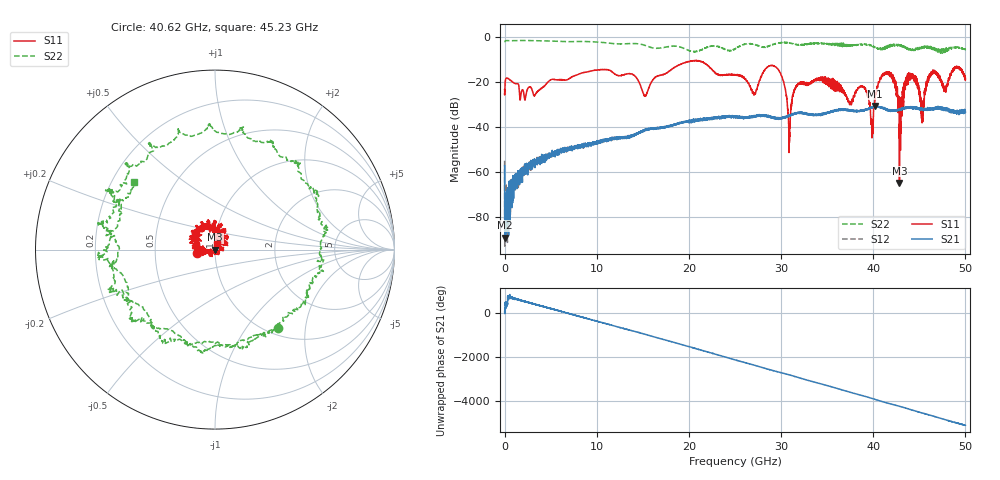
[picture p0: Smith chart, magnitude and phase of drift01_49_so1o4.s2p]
!Created with skrf (http://scikit-rf.org).
# Hz S RI R 50.0
!freq ReS11 ImS11 ReS21 ImS21 ReS12 ImS12 ReS22 ImS22
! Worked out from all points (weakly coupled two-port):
!   10001 points, 300 kHz to 50 GHz, reference 50 ohm
!   highest |S21| = -30.58 dB at 40.21 GHz (marker M1); lowest = -89.1 dB at 70.3 MHz (marker M2)
!   lowest |S11| = -64.8 dB at 42.85 GHz (marker M3), VSWR 1.00, Z = 50 - j0.0533 ohm
!   |S11| at or under -10 dB: start of sweep to end of sweep
!   |S22| runs from -7.1 to -1.4 dB; largest |S21 - S12| = 0.0037
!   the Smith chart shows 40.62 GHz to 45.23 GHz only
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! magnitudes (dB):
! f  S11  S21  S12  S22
! 300 kHz  -23.3  -57.0  -54.9  -2.1
! 70.3 MHz  -19.6  -89.1  -76.8  -1.5
! 8.335 GHz  -15.9  -48.5  -48.6  -1.8
! 13.8 GHz  -16.3  -43.6  -43.6  -2.7
! 15.24 GHz  -26.1  -41.2  -41.2  -3.6
! 16.67 GHz  -17.0  -40.3  -40.5  -4.8
! 25 GHz  -16.7  -35.6  -35.6  -5.2
! 27.11 GHz  -25.1  -35.0  -35.1  -3.2
! 29.41 GHz  -13.1  -36.2  -35.8  -2.7
! 30.91 GHz  -46.8  -34.7  -34.7  -2.6
! 31.64 GHz  -22.1  -33.6  -33.8  -3.1
! 33.34 GHz  -19.9  -34.4  -34.3  -2.6
! 37.53 GHz  -28.9  -32.4  -32.5  -3.8
! 38.92 GHz  -22.1  -32.4  -32.5  -3.0
! 39.82 GHz  -38.5  -31.3  -31.2  -3.9
! 40.21 GHz  -26.3  -30.6  -30.8  -4.5
! 41.67 GHz  -16.5  -32.2  -32.5  -4.3
! 42.85 GHz  -64.8  -32.0  -32.1  -3.5
! 44.07 GHz  -17.0  -31.3  -31.0  -5.3
! 45.3 GHz  -33.9  -31.6  -32.0  -4.3
! 46.46 GHz  -15.5  -32.0  -31.9  -5.1
! 50 GHz  -18.2  -33.3  -33.4  -5.5
